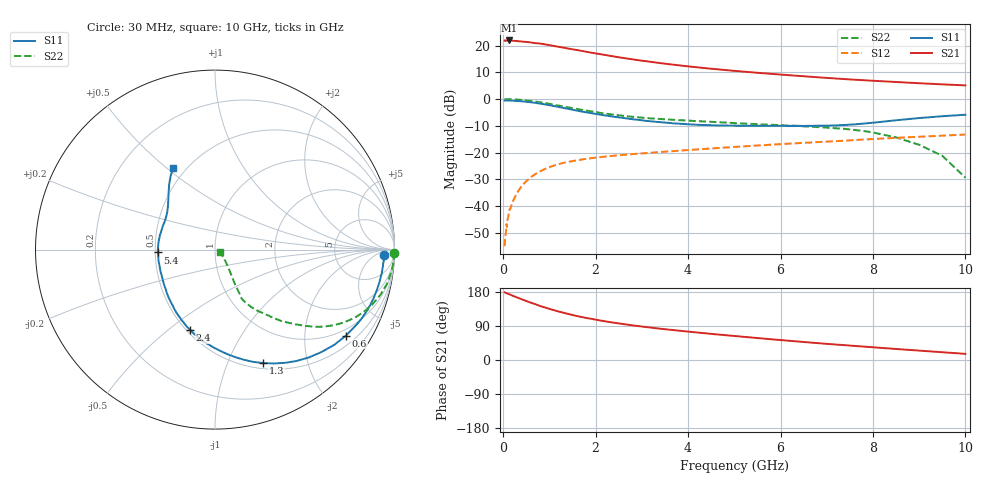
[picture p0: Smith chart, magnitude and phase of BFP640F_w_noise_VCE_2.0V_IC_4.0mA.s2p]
! Infineon Technologies  Discrete & RF Semiconductors
! BFP640F
! VCE =  2.0 V,  IC =  4.0 mA
! Common Emitter S-Parameters:  Apr 2013
# GHz  S  MA  R  50
!  f  S11  S21  S12  S22
! GHz  MAG  ANG  MAG  ANG  MAG  ANG  MAG  ANG
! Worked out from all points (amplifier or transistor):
!   99 points, 30 MHz to 10 GHz, reference 50 ohm
!   highest |S21| = 21.9 dB at 120 MHz (marker M1)
!   |S21| within 3 dB of that: start of sweep to 1.397 GHz
!   unconditionally stable (mu >= 1): 4.669 GHz to end of sweep
!   at 350 MHz: K = 0.06, MSG = 27.6 dB, |S12| = -33.7 dB
!   at 3.5 GHz: K = 0.88, MSG = 16.4 dB, |S12| = -19.6 dB
!   at 10 GHz: K = 1.12, MAG = 7.0 dB, |S12| = -13.2 dB
!   lowest NFmin = 0.49 dB at 450 MHz
!   S11 on the Smith chart (normalised r, x): 30 MHz: 27, -14; 600 MHz: 0.79, -3.17; 1.3 GHz: 0.57, -1.35; 2.4 GHz: 0.52, -0.60; 5.4 GHz: 0.52, -0.02; 10 GHz: 0.43, +0.53
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0.03  0.9435 -1.7  12.32 178.4  0.0018 72.0  0.9992 -1.0
0.05  0.941 -3.0  12.44 177.6  0.0029 43.2  0.9982 -1.7
0.07  0.9426 -3.9  12.36 176.4  0.0046 94.0  0.9994 -2.4
0.12  0.9393 -6.8  12.44 173.9  0.0073 87.3  0.9971 -4.1
0.4  0.9105 -22.5  11.92 160.2  0.0238 79.8  0.9643 -13.4
0.6  0.8728 -33.3  11.4 151.2  0.035 73.8  0.9243 -19.7
0.8  0.8226 -44.0  10.9 142.5  0.0449 68.4  0.8725 -25.3
0.9  0.797 -48.9  10.54 138.7  0.0496 65.9  0.8436 -27.9
1  0.7695 -53.7  10.18 134.9  0.0538 63.5  0.8161 -30.1
1.3  0.6858 -67.1  9.141 124.7  0.0644 57.4  0.7293 -36.1
1.7  0.5863 -83.3  7.941 113.4  0.0746 51.7  0.6308 -41.7
2.1  0.5148 -97.7  6.894 104.2  0.0827 47.7  0.5538 -46.4
2.4  0.469 -107.1  6.244 98.3  0.0879 45.5  0.5127 -48.8
2.8  0.4211 -118.7  5.525 91.4  0.094 43.6  0.4674 -51.4
3.4  0.3715 -134.1  4.695 82.6  0.103 41.7  0.425 -54.4
4.2  0.3318 -152.8  3.923 72.5  0.1151 39.9  0.3886 -57.0
5.1  0.3186 -171.7  3.32 62.3  0.1296 37.8  0.3541 -59.2
5.4  0.3193 -177.2  3.15 59.1  0.1345 37.0  0.3439 -59.8
6.7  0.317 158.3  2.598 45.5  0.1557 33.3  0.3045 -61.4
8.5  0.4029 130.0  2.088 29.1  0.1893 27.6  0.1927 -58.8
9.5  0.4793 121.0  1.886 20.5  0.208 23.7  0.0876 -48.2
10  0.5114 117.2  1.804 16.2  0.218 21.5  0.0342 -27.3
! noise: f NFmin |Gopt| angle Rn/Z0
0.45  0.49  0.47  8  0.17
0.9  0.54  0.47  21  0.17
1.5  0.58  0.47  31  0.17
1.9  0.61  0.44  44  0.17
2.4  0.67  0.4  59  0.17
3.5  0.76  0.3  79  0.18
5.5  1.02  0.24  148  0.19
10  1.8  0.46  -106  0.37
